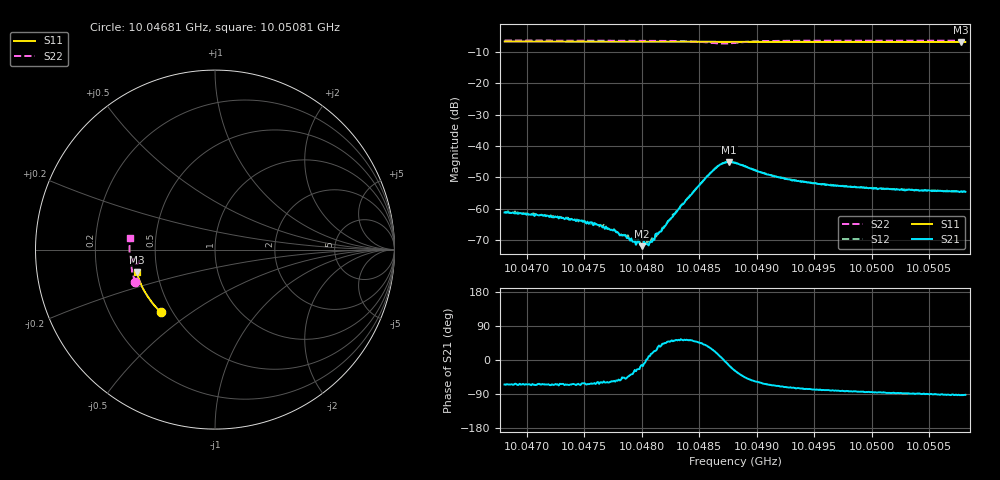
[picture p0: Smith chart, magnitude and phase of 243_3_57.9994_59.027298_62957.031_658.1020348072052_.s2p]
#  HZ  S  RI  R  50.00
! Rohde & Schwarz Vector Network Analyzer
! Rohde-Schwarz,ZNB20-2Port,1311601062101988,3.16
! Created: UTC 3/21/2024, 1:01:09 AM
! freq[Hz]  re:S11  im:S11  re:S21  im:S21  re:S12  im:S12  re:S22  im:S22
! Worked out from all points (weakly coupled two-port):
!   401 points, 10.04681 GHz to 10.05081 GHz, reference 50 ohm
!   highest |S21| = -45.11 dB at 10.04876 GHz (marker M1); lowest = -72.0 dB at 10.048 GHz (marker M2)
!   lowest |S11| = -6.9 dB at 10.05077 GHz (marker M3), VSWR 2.66, Z = 19.1 - j6.11 ohm
!   |S11| at or under -10 dB: nowhere
!   |S22| runs from -7.4 to -6.4 dB; largest |S21 - S12| = 0.00036
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1.0046806e10  -0.3023 -0.3477  0.000373 -0.000784  0.00043 -0.000776  -0.4432 -0.1832
1.0047076e10  -0.3153 -0.3352  0.000328 -0.000739  0.00041 -0.000716  -0.4493 -0.166
1.0047477e10  -0.3334 -0.316  0.000308 -0.00057  0.000297 -0.000559  -0.4572 -0.1394
1.0047607e10  -0.3391 -0.3095  0.000279 -0.000484  0.000317 -0.000467  -0.4595 -0.1301
1.0047748e10  -0.3451 -0.3024  0.000247 -0.000374  0.000261 -0.000371  -0.4616 -0.1201
1.0047938e10  -0.3528 -0.2925  0.000281 -0.000138  0.000266 -0.00012  -0.464 -0.1058
1.0047958e10  -0.3538 -0.2914  0.000267 -0.000121  0.000275 -0.000128  -0.4641 -0.1043
1.0047998e10  -0.3552 -0.2892  0.000246 -5.71e-05  0.000262 -4e-05  -0.4645 -0.1012
1.0048038e10  -0.3569 -0.2872  0.000275 5.96e-06  0.000278 1.14e-05  -0.4646 -0.0977
1.0048068e10  -0.3582 -0.2856  0.000286 4.96e-05  0.000293 6.92e-05  -0.4648 -0.0953
1.0048149e10  -0.3613 -0.2815  0.000328 0.000256  0.000328 0.000252  -0.4651 -0.0886
1.0048359e10  -0.3694 -0.2701  0.000729 0.000929  0.000658 0.00102  -0.4625 -0.0685
1.0048609e10  -0.3782 -0.2561  0.00343 0.00185  0.00334 0.0021  -0.437 -0.0475
1.004869e10  -0.3808 -0.2519  0.00509 0.00063  0.00507 0.000946  -0.4233 -0.0569
1.004876e10  -0.3831 -0.2481  0.00536 -0.00143  0.00547 -0.0011  -0.4242 -0.0725
1.004881e10  -0.3849 -0.2455  0.00472 -0.00255  0.00494 -0.00227  -0.4323 -0.0793
1.004915e10  -0.3962 -0.2259  0.00128 -0.00302  0.00144 -0.00301  -0.468 -0.057
1.0049481e10  -0.4063 -0.2065  0.000546 -0.00249  0.000685 -0.00247  -0.4743 -0.0288
1.0049752e10  -0.4136 -0.1902  0.000322 -0.00224  0.000441 -0.00227  -0.476 -0.00852
1.0050152e10  -0.4233 -0.1658  0.000118 -0.00205  0.000207 -0.00205  -0.4758 0.02
1.0050774e10  -0.4355 -0.1269  -8.37e-05 -0.00188  1.4e-05 -0.0019  -0.4721 0.062
1.0050814e10  -0.4364 -0.1243  -6.14e-05 -0.00186  1.79e-05 -0.00187  -0.4715 0.0646
